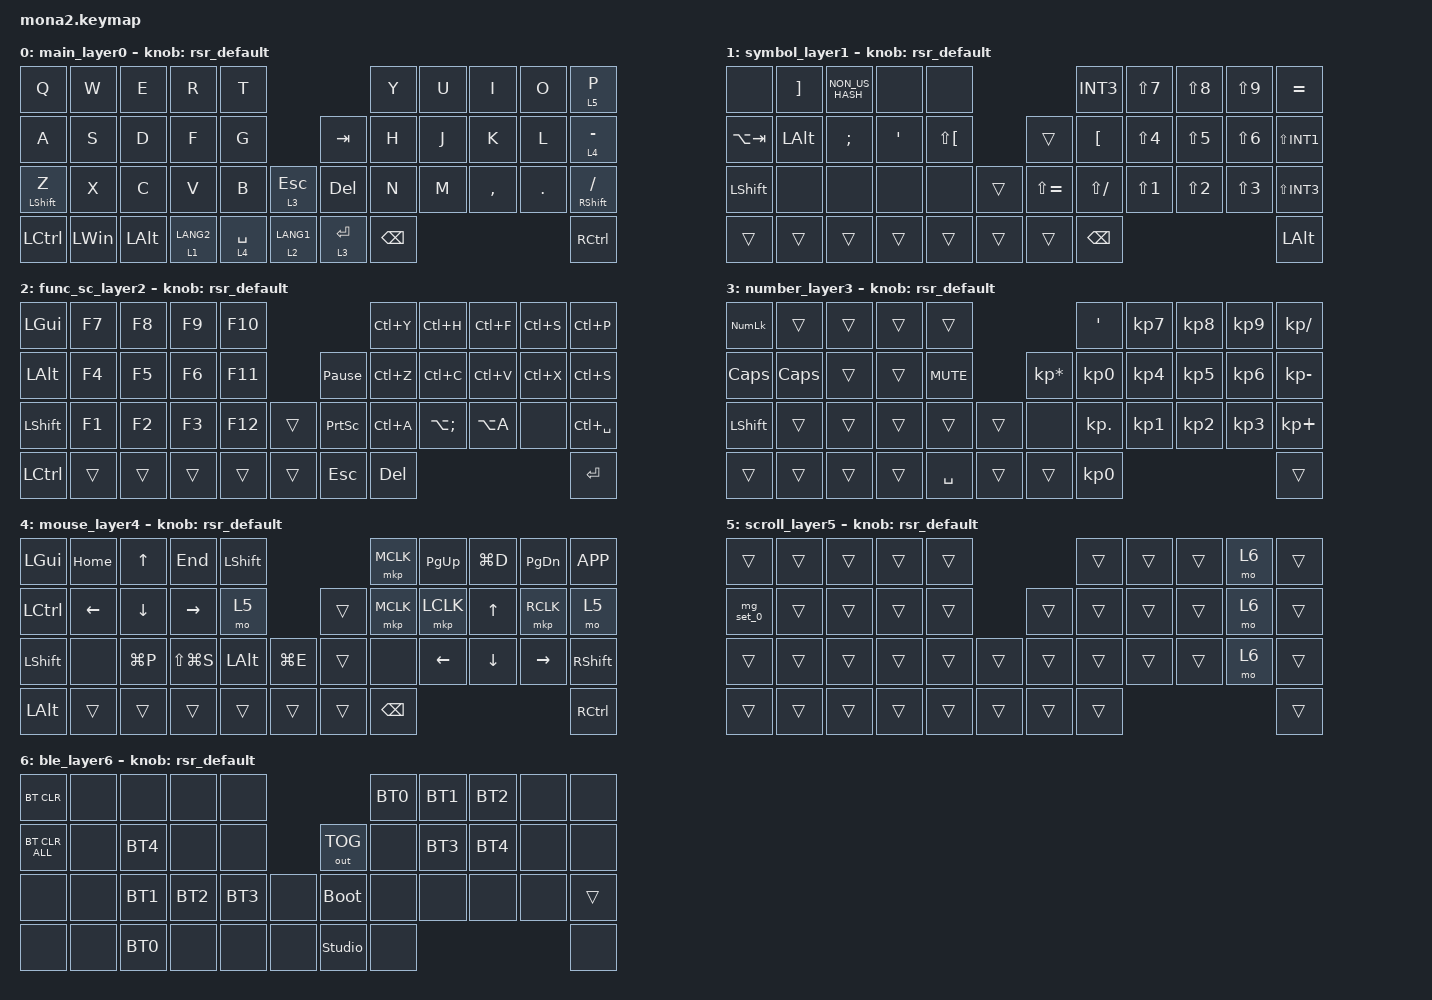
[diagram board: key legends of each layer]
#include <input/processors.dtsi>
#include <dt-bindings/zmk/input_transform.h>
#include <zephyr/dt-bindings/input/input-event-codes.h>
#include <behaviors/runtime-sensor-rotate.dtsi>

/* DYA Studio から作成したマクロを呼び出す `&rmacro <slot>` を定義する。
   slot は 0 〜 CONFIG_ZMK_RUNTIME_MACRO_COUNT-1 (現状 0〜7)。
   どのマクロがどのスロットに入っているかは DYA Studio のマクロ一覧で確認する。
   キーへの割り当ては DYA Studio のキーマップエディタからも行える。 */

#include <behaviors/runtime_macro.dtsi>

/* デフォルトレイヤー変更 behavior `&df`。
   DYA Studio の「OSごとのデフォルトレイヤー」から設定できるほか、
   キーマップエディタで `&df DF_SEL <layer>` / `&df DF_INC` を
   任意のキーに割り当てられる。 */

#include <behaviors/default_layer.dtsi>
#include <dt-bindings/zmk_behavior_default_layer/default_layer.h>
#include <behaviors.dtsi>
#include <dt-bindings/zmk/bt.h>
#include <dt-bindings/zmk/keys.h>
#include <dt-bindings/zmk/outputs.h>
#include <dt-bindings/zmk/pointing.h>

/* ZMK 側で 10 が定義済みなので警告回避のため一旦 undef */

#undef ZMK_POINTING_DEFAULT_SCRL_VAL

#define ZMK_POINTING_DEFAULT_SCRL_VAL 100

/ {
    behaviors {
        mg_set_0: behavior_mg_set_0 {
            compatible = "zmk,behavior-mg-set-fixed";
            #binding-cells = <0>;
            display-name = "Mouse Gesture Key 0";
        };

        mg_set_1: behavior_mg_set_1 {
            compatible = "zmk,behavior-mg-set-fixed";
            #binding-cells = <0>;
            display-name = "Mouse Gesture Key 1";
        };

        mg_set_2: behavior_mg_set_2 {
            compatible = "zmk,behavior-mg-set-fixed";
            #binding-cells = <0>;
            display-name = "Mouse Gesture Key 2";
        };
    };
};

&mt {
    flavor = "balanced";
    quick-tap-ms = <175>;
    tapping-term-ms = <220>;
    require-prior-idle-ms = <150>;
};

&lt {
    flavor = "balanced";
    quick-tap-ms = <175>;
    tapping-term-ms = <250>;
    require-prior-idle-ms = <150>;
};

&msc {
    delay-ms = <0>;
    time-to-max-speed-ms = <0>;
    acceleration-exponent = <0>;
};

/ {
    /* ─────────────────────────────────────────────────────────────
       コンボ (DYA Studio から編集可能)

       旧 `combos { compatible = "zmk,combos"; }` はコンパイル時固定で
       DYA Studio から編集できないため、zmk-feature-runtime-combo の
       「コンパイル時デフォルト」ノードへ移行した。
       ここに書いた内容はフラッシュ直後から有効で、設定を消しても復活する。
       DYA Studio 側で編集するとそのスロットだけ上書きされ、
       Web UI の "Reset to Default" でここの値へ戻せる。

       スロット総数は CONFIG_ZMK_RUNTIME_COMBO_MAX_COMBOS (現状 16)。
       未使用スロット (2〜15) は DYA Studio から自由に追加できる。
       ────────────────────────────────────────────────────────── */

    runtime_combo_defaults {
        compatible = "cormoran,runtime-combo-defaults";

        esc {
            slot = <0>;
            display-name = "ESC";
            key-positions = <38 39>;
            require-prior-idle-ms = <125>;
            bindings = <&kp ESC>;
        };

        tab {
            slot = <1>;
            display-name = "Tab";
            key-positions = <11 12>;
            require-prior-idle-ms = <125>;
            bindings = <&kp TAB>;
        };

        shift_tab {
            slot = <2>;
            display-name = "Shift + Tab";
            key-positions = <12 13>;
            require-prior-idle-ms = <125>;
            bindings = <&kp LS(TAB)>;
        };

        mouse_l {
            slot = <3>;
            display-name = "Mouse-L";
            key-positions = <17 18>;
            require-prior-idle-ms = <125>;
            bindings = <&mkp LCLK>;
        };

        mouse_r {
            slot = <4>;
            display-name = "Mouse-R";
            key-positions = <18 19>;
            require-prior-idle-ms = <125>;
            bindings = <&mkp RCLK>;
        };

        l_alt_up_arrow {
            slot = <5>;
            display-name = "L-Alt + UP-Arrow";
            key-positions = <7 6>;
            require-prior-idle-ms = <125>;
            bindings = <&kp LA(UP_ARROW)>;
        };

        l_alt_l_arrow {
            slot = <6>;
            display-name = "L-Alt + L-Arrow";
            key-positions = <29 30>;
            require-prior-idle-ms = <125>;
            bindings = <&kp LA(LEFT_ARROW)>;
        };

        mouse_m {
            slot = <7>;
            display-name = "Mouse-M";
            key-positions = <17 19>;
            require-prior-idle-ms = <125>;
            bindings = <&mkp MCLK>;
        };
    };

    /* 静的マクロ。キーマップ上で &BT0 / &screenshot などの名前で直接
       参照しているため、そのまま残している (DYA Studio 上では編集不可)。
       DYA Studio から編集したいマクロは Web UI で新規作成し、
       キーに `&rmacro <slot>` を割り当てて使う。 */

    macros {
        to_layer_0: to_layer_0 {
            compatible = "zmk,behavior-macro-one-param";
            #binding-cells = <1>;
            bindings = <&to 0 &macro_param_1to1 &kp MACRO_PLACEHOLDER>;
            label = "TO_LAYER_0";
        };

        BT0: BT0 {
            compatible = "zmk,behavior-macro";
            #binding-cells = <0>;
            bindings =
                <&tog_off 0 &tog_off 0>,
                <&macro_wait_time 200>,
                <&bt BT_SEL 0>,
                <&macro_wait_time 500>,
                <&tog_on 0>;

            label = "BT0";
        };

        BT1: BT1 {
            compatible = "zmk,behavior-macro";
            #binding-cells = <0>;
            bindings =
                <&tog_off 0 &tog_off 0>,
                <&macro_wait_time 200>,
                <&bt BT_SEL 1>,
                <&macro_wait_time 500>,
                <&tog_on 0>;

            label = "BT1";
        };

        BT2: BT2 {
            compatible = "zmk,behavior-macro";
            #binding-cells = <0>;
            bindings =
                <&tog_off 0 &tog_off 0>,
                <&macro_wait_time 200>,
                <&bt BT_SEL 2>,
                <&macro_wait_time 500>,
                <&tog_on 0>;

            label = "BT2";
        };

        BT3: BT3 {
            compatible = "zmk,behavior-macro";
            #binding-cells = <0>;
            bindings =
                <&tog_off 0 &tog_off 0>,
                <&macro_wait_time 200>,
                <&bt BT_SEL 3>,
                <&macro_wait_time 500>,
                <&tog_on 0>;

            label = "BT3";
        };

        BT4: BT4 {
            compatible = "zmk,behavior-macro";
            #binding-cells = <0>;
            bindings =
                <&tog_off 0 &tog_off 0>,
                <&macro_wait_time 200>,
                <&bt BT_SEL 4>,
                <&macro_wait_time 500>,
                <&tog_on 0>;

            label = "BT4";
        };

        screenshot: screenshot {
            compatible = "zmk,behavior-macro";
            #binding-cells = <0>;
            bindings =
                <&macro_press>,
                <&kp LEFT_GUI &kp RSHIFT>,
                <&macro_wait_time 20>,
                <&macro_tap>,
                <&kp S>,
                <&macro_release>,
                <&kp LEFT_GUI &kp RSHIFT>;

            label = "SCREENSHOT";
        };

        henkan: henkan {
            compatible = "zmk,behavior-macro";
            #binding-cells = <0>;
            bindings =
                <&macro_press>,
                <&kp LEFT_ALT>,
                <&macro_wait_time 20>,
                <&macro_tap>,
                <&kp GRAVE>,
                <&macro_release>,
                <&kp LEFT_ALT>;

            label = "HENKAN";
        };
    };

    behaviors {
        lt_to_layer_0: lt_to_layer_0 {
            compatible = "zmk,behavior-hold-tap";
            label = "LAYER_TAP_TO_0";
            bindings = <&mo>, <&to_layer_0>;

            #binding-cells = <2>;
            tapping-term-ms = <200>;
        };

        tp_repeat_mo1: tp_repeat_mo1 {
            compatible = "zmk,behavior-hold-tap";
            label = "TP_REPEAT_MO1";
            bindings = <&mo>, <&key_repeat>;

            #binding-cells = <2>;
            tapping-term-ms = <200>;
        };

        // エンコーダ用 runtime-configurable sensor rotate
        // デフォルトはスクロール (cw=SCRL_DOWN, ccw=SCRL_UP)
        // DYA Studio Web UI から レイヤーごとに cw/ccw の binding を
        // kp C_VOL_UP/DN や kp LEFT/RIGHT などへ動的変更可能

        rsr_default: rsr_default {
            compatible = "zmk,behavior-runtime-sensor-rotate";
            #sensor-binding-cells = <0>;
            tap-ms = <16>;
            cw-binding = <&msc SCRL_DOWN>;
            ccw-binding = <&msc SCRL_UP>;
        };

        // 標準ZMKのセンサー回転Behavior
        // 時計回り(CW) / 反時計回り(CCW)の順で指定
        //
        // 縦スクロール:
        //   CW  = 下
        //   CCW = 上

        encoder_scroll: encoder_scroll {
            compatible = "zmk,behavior-sensor-rotate";
            #sensor-binding-cells = <0>;
            tap-ms = <16>;
            bindings = <&msc SCRL_DOWN>, <&msc SCRL_UP>;
        };

        // 横スクロール:
        //   CW  = 右
        //   CCW = 左

        encoder_hscroll: encoder_hscroll {
            compatible = "zmk,behavior-sensor-rotate";
            #sensor-binding-cells = <0>;
            tap-ms = <16>;
            bindings = <&msc SCRL_LEFT>, <&msc SCRL_RIGHT>;
        };

        tog_on: toggle_layer_on_only {
            compatible = "zmk,behavior-toggle-layer";
            #binding-cells = <1>;
            display-name = "Toggle Layer On";
            toggle-mode = "on";
        };

        tog_off: toggle_layer_off_only {
            compatible = "zmk,behavior-toggle-layer";
            #binding-cells = <1>;
            display-name = "Toggle Layer Off";
            toggle-mode = "off";
        };

        zfold: zfold {
            compatible = "zmk,behavior-hold-tap";
            label = "ZFOLD";
            bindings = <&kp>, <&kp>;

            #binding-cells = <2>;
            tapping-term-ms = <300>;
            flavor = "hold-preferred";
            quick-tap-ms = <150>;
            hold-while-undecided;
        };

        zfoldZ: zfoldZ {
            compatible = "zmk,behavior-tap-dance";
            label = "ZFOLDZ";
            #binding-cells = <0>;
            bindings = <&zfold LEFT_SHIFT Z>, <&kp LS(Z)>;
        };
    };

    keymap {
        compatible = "zmk,keymap";

        main_layer0 {
            display-name = "main_layer0";
            bindings = <
&kp Q        &kp W         &kp E         &kp R        &kp T                                    &kp Y     &kp U  &kp I      &kp O    &lt 5 P
&kp A        &kp S         &kp D         &kp F        &kp G                       &kp TAB      &kp H     &kp J  &kp K      &kp L    &lt 4 MINUS
&mt LSHFT Z  &kp X         &kp C         &kp V        &kp B        &lt 3 ESC      &kp DEL      &kp N     &kp M  &kp COMMA  &kp DOT  &mt RSHFT SLASH
&kp LCTRL    &kp LEFT_WIN  &kp LEFT_ALT  &lt 1 LANG2  &lt 4 SPACE  &lt 2 LANG1    &lt 3 ENTER  &kp BSPC                             &kp RCTRL
            >;

            sensor-bindings = <&rsr_default>;
        };

        symbol_layer1 {
            display-name = "symbol_layer1";
            bindings = <
&none           &kp RBKT      &kp NON_US_HASH  &none    &none                                          &kp INT3          &kp LS(NUMBER_7)  &kp LS(NUMBER_8)  &kp LS(NUMBER_9)  &kp EQUAL
&kp LA(TAB)     &kp LEFT_ALT  &kp SEMI         &kp SQT  &kp LS(LEFT_BRACKET)            &trans         &kp LEFT_BRACKET  &kp LS(NUMBER_4)  &kp LS(NUMBER_5)  &kp LS(NUMBER_6)  &kp LS(INT1)
&kp LEFT_SHIFT  &none         &none            &none    &none                 &trans    &kp LS(EQUAL)  &kp LS(SLASH)     &kp LS(NUMBER_1)  &kp LS(NUMBER_2)  &kp LS(NUMBER_3)  &kp LS(INT3)
&trans          &trans        &trans           &trans   &trans                &trans    &trans         &kp BACKSPACE                                                           &kp LALT
            >;

            sensor-bindings = <&rsr_default>;
        };

        func_sc_layer2 {
            display-name = "func_sc_layer2";
            bindings = <
&kp LEFT_GUI  &kp F7  &kp F8  &kp F9  &kp F10                             &kp LC(Y)  &kp LC(H)     &kp LC(F)  &kp LC(S)  &kp LC(P)
&kp LALT      &kp F4  &kp F5  &kp F6  &kp F11            &kp PAUSE_BREAK  &kp LC(Z)  &kp LC(C)     &kp LC(V)  &kp LC(X)  &kp LC(S)
&kp LSHFT     &kp F1  &kp F2  &kp F3  &kp F12  &trans    &kp PRINTSCREEN  &kp LC(A)  &kp LA(SEMI)  &kp LA(A)  &none      &kp LC(SPACE)
&kp LCTRL     &trans  &trans  &trans  &trans   &trans    &kp ESC          &kp DEL                                        &kp ENTER
            >;

            sensor-bindings = <&rsr_default>;
        };

        number_layer3 {
            display-name = "number_layer3";
            bindings = <
&kp KP_NLCK     &trans        &trans  &trans  &trans                                 &kp SINGLE_QUOTE  &kp KP_N7  &kp KP_N8  &kp KP_N9  &kp KP_SLASH
&kp CAPSLOCK    &kp CAPSLOCK  &trans  &trans  &kp C_MUTE            &kp KP_ASTERISK  &kp KP_N0         &kp KP_N4  &kp KP_N5  &kp KP_N6  &kp KP_MINUS
&kp LEFT_SHIFT  &trans        &trans  &trans  &trans      &trans    &none            &kp KP_DOT        &kp KP_N1  &kp KP_N2  &kp KP_N3  &kp KP_PLUS
&trans          &trans        &trans  &trans  &kp SPACE   &trans    &trans           &kp KP_N0                                          &trans
            >;

            sensor-bindings = <&rsr_default>;
        };

        mouse_layer4 {
            display-name = "mouse_layer4";
            bindings = <
&kp LGUI    &kp HOME        &kp UP_ARROW    &kp END          &kp LSHFT                       &mkp MCLK      &kp PAGE_UP     &kp LG(D)       &kp PAGE_DOWN    &kp K_APP
&kp LCTRL   &kp LEFT_ARROW  &kp DOWN_ARROW  &kp RIGHT_ARROW  &mo 5                   &trans  &mkp MCLK      &mkp LCLK       &kp UP_ARROW    &mkp RCLK        &mo 5
&kp LSHIFT  &none           &kp LG(P)       &kp LS(LG(S))    &kp LALT   &kp LG(E)    &trans  &none          &kp LEFT_ARROW  &kp DOWN_ARROW  &kp RIGHT_ARROW  &kp RSHFT
&kp LALT    &trans          &trans          &trans           &trans     &trans       &trans  &kp BACKSPACE                                                   &kp RCTRL
            >;

            sensor-bindings = <&rsr_default>;
        };

        scroll_layer5 {
            display-name = "scroll_layer5";
            bindings = <
&trans     &trans  &trans  &trans  &trans                    &trans  &trans  &trans  &mo 6  &trans
&mg_set_0  &trans  &trans  &trans  &trans            &trans  &trans  &trans  &trans  &mo 6  &trans
&trans     &trans  &trans  &trans  &trans  &trans    &trans  &trans  &trans  &trans  &mo 6  &trans
&trans     &trans  &trans  &trans  &trans  &trans    &trans  &trans                         &trans
            >;

            sensor-bindings = <&rsr_default>;
        };

        ble_layer6 {
            display-name = "ble_layer6";
            bindings = <
&bt BT_CLR      &none  &none  &none  &none                           &BT0   &BT1   &BT2   &none  &none
&bt BT_CLR_ALL  &none  &BT4   &none  &none           &out OUT_TOG    &none  &BT3   &BT4   &none  &none
&none           &none  &BT1   &BT2   &BT3   &none    &bootloader     &none  &none  &none  &none  &trans
&none           &none  &BT0   &none  &none  &none    &studio_unlock  &none                       &none
            >;

            sensor-bindings = <&rsr_default>;
        };

        layer_7 { status = "reserved"; };

        layer_8 { status = "reserved"; };

        layer_9 { status = "reserved"; };
    };
};
